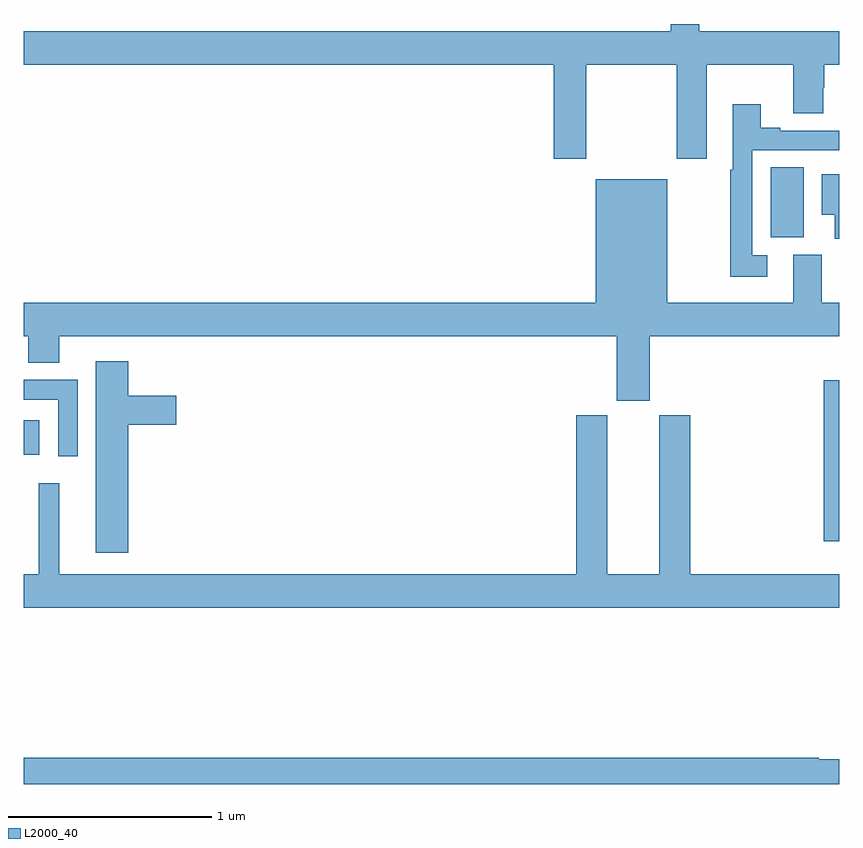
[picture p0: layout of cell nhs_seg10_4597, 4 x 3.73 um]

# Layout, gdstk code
import gdstk
lib = gdstk.Library(unit=1e-6, precision=1e-09)
def R(c, l, rs):  # rectangles x0, y0, x1, y1
    for r in rs: c.add(gdstk.rectangle(r[:2], r[2:], *l))
def P(c, l, *ps):  # polygons
    for p in ps: c.add(gdstk.Polygon(p, *l))
L2000_40 = (2000, 40)

nhs_seg10_4597 = lib.new_cell('nhs_seg10_4597')
R(nhs_seg10_4597, L2000_40, [(376.926,1313.961,377,1314.752), (373,1314.386,373.075,1314.556), (376.664,1315.453,376.828,1315.796)])
P(nhs_seg10_4597, L2000_40, [(375.759,1316.3),(376.204,1316.3),(376.204,1315.839),(376.351,1315.839),(376.351,1316.3),(376.775,1316.3),(376.775,1316.062),(376.923,1316.062),(376.923,1316.187),(376.928,1316.187),(376.928,1316.3),(377,1316.3),(377,1316.464),(376.315,1316.464),(376.315,1316.5),(376.175,1316.5),(376.175,1316.464),(373,1316.464),(373,1316.3),(375.599,1316.3),(375.599,1315.839),(375.759,1315.839)],
  [(376.648,1315.365),(376.575,1315.365),(376.575,1315.881),(377,1315.881),(377,1315.977),(376.711,1315.977),(376.711,1315.99),(376.615,1315.99),(376.615,1316.107),(376.479,1316.107),(376.479,1315.784),(376.467,1315.784),(376.467,1315.26),(376.648,1315.26)],
  [(377,1315.762),(376.916,1315.762),(376.916,1315.565),(376.979,1315.565),(376.979,1315.446),(377,1315.446)],
  [(376.072,1314.968),(377,1314.968),(377,1315.132),(376.915,1315.132),(376.915,1315.368),(376.775,1315.368),(376.775,1315.132),(376.156,1315.132),(376.156,1315.738),(375.806,1315.738),(375.806,1315.132),(373,1315.132),(373,1314.968),(373.022,1314.968),(373.022,1314.838),(373.174,1314.838),(373.174,1314.968),(375.908,1314.968),(375.908,1314.651),(376.072,1314.651)],
  [(373.511,1314.533),(373.747,1314.533),(373.747,1314.675),(373.511,1314.675),(373.511,1314.844),(373.352,1314.844),(373.352,1313.904),(373.511,1313.904)],
  [(373.263,1314.753),(373,1314.753),(373,1314.657),(373.167,1314.657),(373.167,1314.378),(373.263,1314.378)],
  [(377,1313.8),(376.271,1313.8),(376.271,1314.579),(376.118,1314.579),(376.118,1313.8),(375.862,1313.8),(375.862,1314.579),(375.71,1314.579),(375.71,1313.8),(373.172,1313.8),(373.172,1314.247),(373.073,1314.247),(373.073,1313.8),(373,1313.8),(373,1313.636),(377,1313.636)],
  [(377,1312.891),(376.9,1312.891),(376.9,1312.898),(373,1312.898),(373,1312.77),(377,1312.77)])

lib.write_gds('nhs_seg10_4597.gds')
